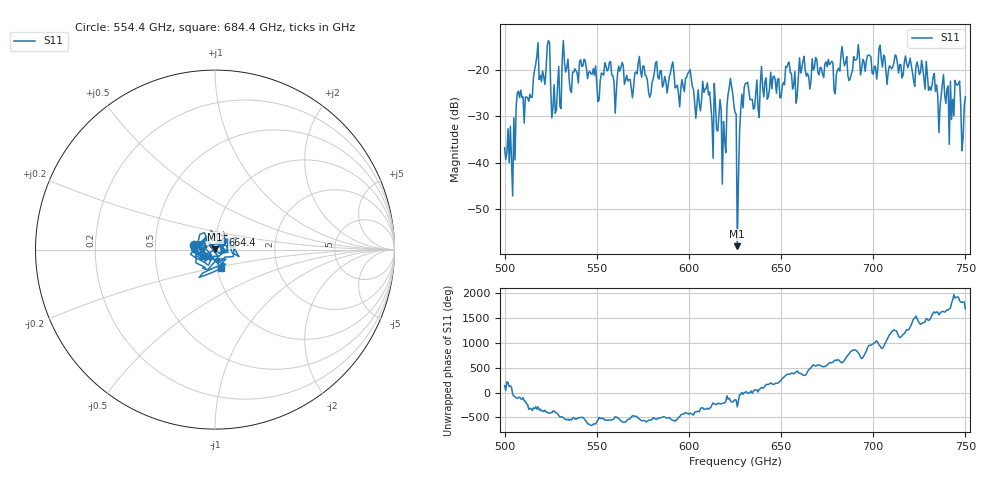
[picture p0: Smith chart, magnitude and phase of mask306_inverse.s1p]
!Created with skrf (http://scikit-rf.org).
# GHz S MA R 50.0
!freq magS11 angS11
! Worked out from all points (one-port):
!   401 points, 500 GHz to 750 GHz, reference 50 ohm
!   lowest |S11| = -57.9 dB at 626.2 GHz (marker M1), VSWR 1.00, Z = 50 + j0.12 ohm
!   |S11| at or under -10 dB: start of sweep to end of sweep
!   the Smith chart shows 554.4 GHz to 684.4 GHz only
!   S11 on the Smith chart (normalised r, x): 554.4 GHz: 0.79, +0.04; 664.4 GHz: 1.08, +0.17; 684.4 GHz: 1.05, -0.22
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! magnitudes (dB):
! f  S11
! 500 GHz  -36.8
! 504.4 GHz  -47.1
! 507.5 GHz  -24.6
! 513.8 GHz  -25.3
! 516.9 GHz  -18.8
! 523.8 GHz  -13.7
! 526.9 GHz  -23.2
! 531.2 GHz  -17.8
! 554.4 GHz  -18.5
! 562.5 GHz  -20.3
! 578.8 GHz  -25.9
! 590.6 GHz  -19.2
! 593.8 GHz  -23.3
! 608.8 GHz  -24.2
! 618.8 GHz  -31.1
! 622.5 GHz  -21.9
! 624.4 GHz  -27.5
! 625 GHz  -29.2
! 626.2 GHz  -57.9
! 631.2 GHz  -22.9
! 634.4 GHz  -26.4
! 656.2 GHz  -24.1
! 664.4 GHz  -20.8
! 684.4 GHz  -19.1
! 687.5 GHz  -21.9
! 690.6 GHz  -17.9
! 718.8 GHz  -19.6
! 750 GHz  -25.8
